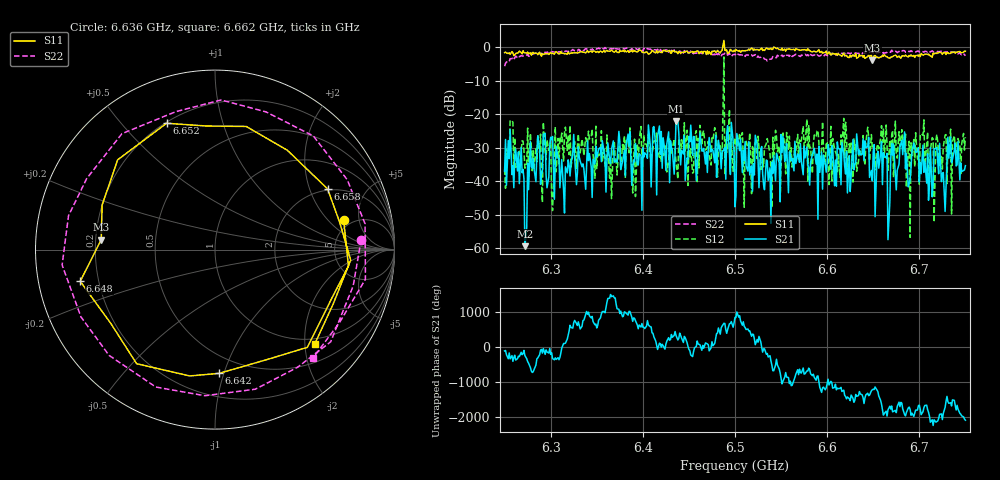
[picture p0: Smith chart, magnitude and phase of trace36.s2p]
# Hz S RI R 50
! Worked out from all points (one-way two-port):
!   401 points, 6.25 GHz to 6.75 GHz, reference 50 ohm
!   highest |S21| = -22.06 dB at 6.436 GHz (marker M1); lowest = -59.3 dB at 6.272 GHz (marker M2)
!   lowest |S11| = -3.9 dB at 6.649 GHz (marker M3), VSWR 4.50, Z = 11.1 + j2.06 ohm
!   |S11| at or under -10 dB: nowhere
!   |S22| runs from -5.7 to 0.0 dB; largest |S21 - S12| = 0.73
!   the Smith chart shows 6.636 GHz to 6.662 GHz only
!   S11 on the Smith chart (normalised r, x): 6.636 GHz: 4.27, +3.07; 6.642 GHz: 0.37, -0.96; 6.648 GHz: 0.13, -0.11; 6.652 GHz: 0.20, +0.67; 6.658 GHz: 1.95, +2.67; 6.662 GHz: 0.87, -2.21
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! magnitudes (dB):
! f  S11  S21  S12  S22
! 6.25 GHz  -1.7  -37.0  -36.4  -5.7
! 6.256 GHz  -2.2  -24.6  -21.8  -3.5
! 6.272 GHz  -1.7  -59.3  -36.1  -2.8
! 6.3 GHz  -1.7  -26.9  -27.6  -1.4
! 6.312 GHz  -1.8  -33.5  -25.7  -1.3
! 6.334 GHz  -1.5  -35.7  -27.5  -0.7
! 6.418 GHz  -1.3  -23.5  -32.9  -1.5
! 6.436 GHz  -1.3  -22.1  -34.1  -1.5
! 6.5 GHz  -1.3  -47.6  -27.0  -2.1
! 6.584 GHz  -1.5  -32.0  -37.7  -2.6
! 6.636 GHz  -2.7  -32.2  -31.5  -1.8
! 6.642 GHz  -3.2  -29.9  -28.5  -1.8
! 6.648 GHz  -2.3  -36.8  -26.1  -1.4
! 6.649 GHz  -3.9  -39.9  -29.8  -1.5
! 6.652 GHz  -2.5  -50.6  -36.6  -1.9
! 6.658 GHz  -2.9  -31.8  -27.1  -1.6
! 6.662 GHz  -2.3  -32.4  -32.8  -1.8
! 6.668 GHz  -3.3  -46.3  -27.7  -1.5
! 6.681 GHz  -2.7  -27.8  -24.6  -1.2
! 6.689 GHz  -2.5  -40.8  -28.1  -1.2
! 6.704 GHz  -2.4  -29.2  -26.3  -1.4
! 6.75 GHz  -1.3  -35.4  -26.9  -2.6
